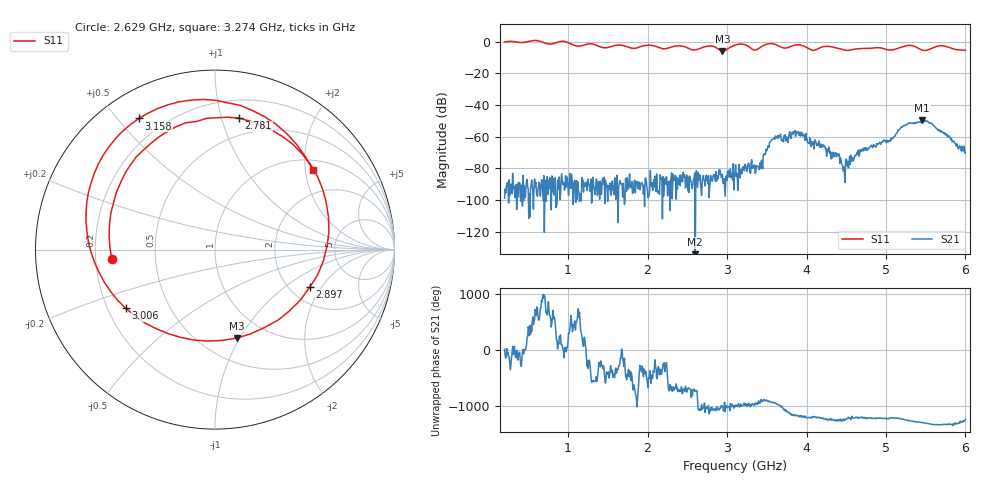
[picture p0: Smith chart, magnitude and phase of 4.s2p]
! NanoVNA-App by OneOfEleven et al v1.1.209 (+OD15)
! Date: 2024-07-30 15:20:43
! Start: 200MHz Stop: 6GHz Points: 801
! S-Parameter data: F S11 S21 S12 S22
# Hz S RI R 50
!  Frequency  S11_Real  S11_Imag  S21_Real  S21_Imag  S12_Real  S12_Imag  S22_Real  S22_Imag
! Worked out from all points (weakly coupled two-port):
!   801 points, 200 MHz to 6 GHz, reference 50 ohm
!   highest |S21| = -49.66 dB at 5.456 GHz (marker M1); lowest = -138.3 dB at 2.6 GHz (marker M2)
!   lowest |S11| = -5.9 dB at 2.941 GHz (marker M3), VSWR 3.06, Z = 36.7 - j48.6 ohm
!   |S11| at or under -10 dB: nowhere
!   S12 and S22 are empty: the file has one direction only
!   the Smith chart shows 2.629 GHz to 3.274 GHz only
!   S11 on the Smith chart (normalised r, x): 2.629 GHz: 0.27, -0.04; 2.781 GHz: 0.35, +1.14; 2.897 GHz: 2.56, -1.57; 3.006 GHz: 0.28, -0.28; 3.158 GHz: 0.11, +0.57; 3.274 GHz: 1.25, +2.19
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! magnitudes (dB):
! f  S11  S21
! 200 MHz  0.0  -98.8
! 1.171 GHz  -2.5  -85.6
! 2.136 GHz  -3.5  -94.2
! 2.6 GHz  -5.2  -138.3
! 2.629 GHz  -4.8  -92.2
! 2.781 GHz  -2.6  -91.6
! 2.897 GHz  -4.9  -80.9
! 2.941 GHz  -5.9  -83.7
! 3.006 GHz  -4.5  -81.8
! 3.1 GHz  -2.1  -84.2
! 3.158 GHz  -1.5  -83.8
! 3.274 GHz  -3.1  -76.7
! 3.419 GHz  -3.5  -76.3
! 3.542 GHz  -1.1  -63.3
! 3.644 GHz  -2.5  -60.8
! 3.905 GHz  -1.9  -59.1
! 4.072 GHz  -5.3  -65.0
! 4.383 GHz  -3.9  -70.7
! 4.463 GHz  -5.1  -81.5
! 5.036 GHz  -5.1  -62.4
! 5.456 GHz  -5.3  -49.7
! 6 GHz  -5.3  -70.1
